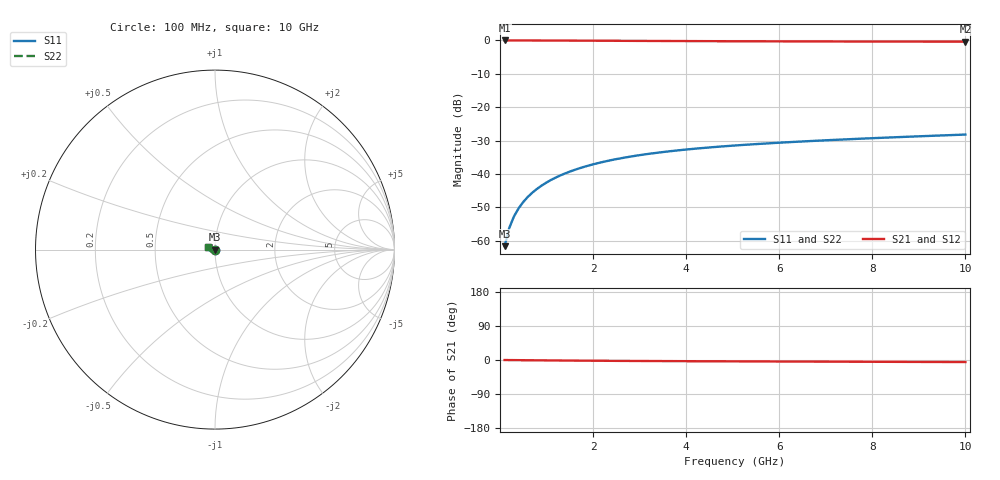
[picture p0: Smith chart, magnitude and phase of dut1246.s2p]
! Touchstone file exported from HFSS 2024.1.0
!  File:  C:/UserFiles/LocalFiles/RDL_TSV_Batchsim/temp_TSV1_1246_1780251902.aedt
!  Generated:  02:31:07 AM Jun  1, 2026
!  Design:  TSV1
!  Project:  temp_TSV1_1246_1780251902
!  Setup:  Setup1
!  Solution:  Sweep
! Variables:
!  dtsv = 6.41um
!  hbump = 3um
!  htsv = 83.88um
!  lrdl = 252.1521522um
!  p = 40
!  p1 = 44.67um
!  t = 500um
!  trdl = 3um
!  wrdl = 24.89489489um
# GHz S MA R 50.000000
! Terminal data exported
! Port[1] = TSV22_T1
! Port[2] = TSV22_T2
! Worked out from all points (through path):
!   100 points, 100 MHz to 10 GHz, reference 50 ohm
!   highest |S21| = 0.00 dB at 100 MHz (marker M1); lowest = -0.4 dB at 10 GHz (marker M2)
!   lowest |S11| = -61.6 dB at 100 MHz (marker M3), VSWR 1.00, Z = 50 - j0.0764 ohm
!   |S11| at or under -10 dB: start of sweep to end of sweep
!   |S22| runs from -61.6 to -28.2 dB; largest |S21 - S12| = 7.1e-15
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0.1  0.0008331 -66.4  0.9996 -0.1  0.9996 -0.1  0.0008331 -66.4
! Gamma 0 0 0 0
! Port Impedance 50 0 50 0
0.2  0.001564 -80.4  0.9995 -0.2  0.9995 -0.2  0.001564 -80.4
0.3  0.002314 -86.6  0.9994 -0.3  0.9994 -0.3  0.002314 -86.6
0.4  0.003067 -90.7  0.9992 -0.4  0.9992 -0.4  0.003067 -90.7
0.5  0.003817 -93.9  0.999 -0.5  0.999 -0.5  0.003817 -93.9
0.6  0.004562 -96.7  0.9987 -0.6  0.9987 -0.6  0.004562 -96.7
0.7  0.005301 -99.2  0.9984 -0.7  0.9984 -0.7  0.005301 -99.2
0.8  0.006033 -101.5  0.998 -0.8  0.998 -0.8  0.006033 -101.5
0.9  0.006757 -103.7  0.9976 -0.9  0.9976 -0.9  0.006757 -103.7
1.1  0.008175 -107.9  0.9967 -1.1  0.9967 -1.1  0.008175 -107.9
1.4  0.01022 -113.7  0.9951 -1.4  0.9951 -1.4  0.01022 -113.7
1.6  0.01152 -117.3  0.9939 -1.6  0.9939 -1.6  0.01152 -117.3
1.8  0.01277 -120.8  0.9926 -1.8  0.9926 -1.8  0.01277 -120.8
2.1  0.01455 -125.9  0.9906 -2.0  0.9906 -2.0  0.01455 -125.9
2.5  0.01673 -132.2  0.9878 -2.3  0.9878 -2.3  0.01673 -132.2
2.9  0.01871 -138.1  0.9851 -2.5  0.9851 -2.5  0.01871 -138.1
3.4  0.02094 -144.9  0.9818 -2.8  0.9818 -2.8  0.02094 -144.9
4.2  0.024 -154.7  0.977 -3.2  0.977 -3.2  0.024 -154.7
5.1  0.02692 -164.3  0.9725 -3.6  0.9725 -3.6  0.02692 -164.3
6.7  0.03128 -178.4  0.9665 -4.2  0.9665 -4.2  0.03128 -178.4
8.4  0.03535 169.6  0.9621 -4.9  0.9621 -4.9  0.03535 169.6
10  0.03901 160.4  0.9592 -5.4  0.9592 -5.4  0.03901 160.4
